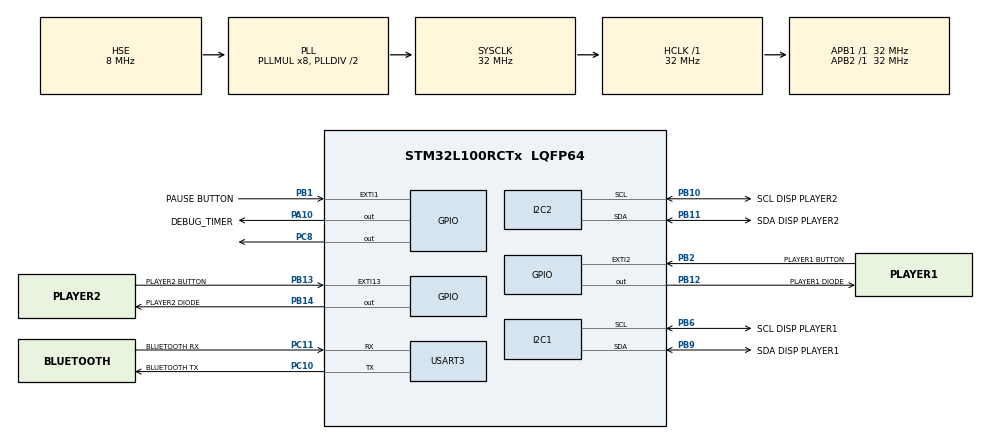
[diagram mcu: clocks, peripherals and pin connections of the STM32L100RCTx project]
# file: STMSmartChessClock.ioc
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Mcu.Family=STM32L1
Mcu.Name=STM32L100RCTx
Mcu.Package=LQFP64
NVIC.EXTI15_10_IRQn=true\:1\:0\:true\:true\:true\:4\:true
NVIC.EXTI1_IRQn=true\:1\:0\:true\:true\:true\:8\:true
NVIC.EXTI2_IRQn=true\:1\:0\:true\:true\:true\:7\:true
NVIC.PriorityGroup=NVIC_PRIORITYGROUP_4
NVIC.TIM10_IRQn=true\:0\:0\:false\:true\:true\:5\:true
NVIC.TIM2_IRQn=true\:1\:0\:true\:true\:true\:1\:true
NVIC.TIM3_IRQn=true\:1\:0\:true\:true\:true\:2\:true
NVIC.TIM6_IRQn=true\:0\:0\:false\:true\:true\:3\:true
NVIC.TIM9_IRQn=true\:1\:0\:true\:true\:true\:6\:true
PA10.GPIO_Label=DEBUG_TIMER
PA10.Signal=GPIO_Output
PB1.GPIO_Label=PAUSE BUTTON
PB1.GPIO_ModeDefaultEXTI=GPIO_MODE_IT_FALLING
PB1.GPIO_PuPd=GPIO_PULLUP
PB1.Signal=GPXTI1
PB10.GPIO_Label=SCL DISP PLAYER2
PB10.Mode=I2C
PB10.Signal=I2C2_SCL
PB11.GPIO_Label=SDA DISP PLAYER2
PB11.Mode=I2C
PB11.Signal=I2C2_SDA
PB12.GPIO_Label=PLAYER1 DIODE
PB12.GPIO_ModeDefaultOutputPP=GPIO_MODE_OUTPUT_PP
PB12.GPIO_PuPd=GPIO_NOPULL
PB12.GPIO_Speed=GPIO_SPEED_FREQ_LOW
PB12.PinState=GPIO_PIN_RESET
PB12.Signal=GPIO_Output
PB13.GPIO_Label=PLAYER2 BUTTON
PB13.GPIO_ModeDefaultEXTI=GPIO_MODE_IT_FALLING
PB13.GPIO_PuPd=GPIO_PULLUP
PB13.Signal=GPXTI13
PB14.GPIO_Label=PLAYER2 DIODE
PB14.GPIO_PuPd=GPIO_NOPULL
PB14.PinState=GPIO_PIN_RESET
PB14.Signal=GPIO_Output
PB2.GPIO_Label=PLAYER1 BUTTON
PB2.GPIO_ModeDefaultEXTI=GPIO_MODE_IT_FALLING
PB2.GPIO_PuPd=GPIO_PULLUP
PB2.Signal=GPXTI2
PB6.GPIO_Label=SCL DISP PLAYER1
PB6.Mode=I2C
PB6.Signal=I2C1_SCL
PB9.GPIO_Label=SDA DISP PLAYER1
PB9.Mode=I2C
PB9.Signal=I2C1_SDA
PC10.GPIO_Label=BLUETOOTH TX
PC10.Mode=Asynchronous
PC10.Signal=USART3_TX
PC11.GPIO_Label=BLUETOOTH RX
PC11.Mode=Asynchronous
PC11.Signal=USART3_RX
PC8.Signal=GPIO_Output
PH0-OSC_IN.Mode=HSE-External-Oscillator
PH0-OSC_IN.Signal=RCC_OSC_IN
PH1-OSC_OUT.Mode=HSE-External-Oscillator
PH1-OSC_OUT.Signal=RCC_OSC_OUT
ProjectManager.HeapSize=0x200
ProjectManager.StackSize=0x400
ProjectManager.TargetToolchain=SW4STM32
RCC.48MHZClocksFreq_Value=32000000
RCC.AHBFreq_Value=32000000
RCC.APB1Freq_Value=32000000
RCC.APB1TimFreq_Value=32000000
RCC.APB2Freq_Value=32000000
RCC.APB2TimFreq_Value=32000000
RCC.HCLKFreq_Value=32000000
RCC.HSE_VALUE=8000000
RCC.HSI_VALUE=16000000
RCC.LSE_VALUE=32768
RCC.MSI_VALUE=2097000
RCC.PLLMUL=RCC_PLL_MUL8
RCC.PLLSourceVirtual=RCC_PLLSOURCE_HSE
RCC.SYSCLKFreq_VALUE=32000000
RCC.SYSCLKSource=RCC_SYSCLKSOURCE_PLLCLK
RCC.VCOOutputFreq_Value=64000000
TIM10.Period=499
TIM10.Prescaler=159
TIM2.Period=999
TIM2.Prescaler=15
TIM3.Period=999
TIM3.Prescaler=159
TIM6.Period=9999
TIM6.Prescaler=799
TIM9.Period=999
TIM9.Prescaler=15
USART3.VirtualMode=VM_ASYNC
VP_TIM10_VS_ClockSourceINT.Mode=Internal
VP_TIM2_VS_ClockSourceINT.Mode=Internal
VP_TIM3_VS_ClockSourceINT.Mode=Internal
VP_TIM6_VS_ClockSourceINT.Mode=Enable_Timer
VP_TIM9_VS_ClockSourceINT.Mode=Internal
board=custom

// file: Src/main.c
/**
  ******************************************************************************
  * @file           : main.c
  * @brief          : Main program body
  ******************************************************************************
  ** This notice applies to any and all portions of this file
  * that are not between comment pairs USER CODE BEGIN and
  * USER CODE END. Other portions of this file, whether
  * inserted by the user or by software development tools
  * are owned by their respective copyright owners.
  *
  * COPYRIGHT(c) 2019 STMicroelectronics
  *
  * Redistribution and use in source and binary forms, with or without modification,
  * are permitted provided that the following conditions are met:
  *   1. Redistributions of source code must retain the above copyright notice,
  *      this list of conditions and the following disclaimer.
  *   2. Redistributions in binary form must reproduce the above copyright notice,
  *      this list of conditions and the following disclaimer in the documentation
  *      and/or other materials provided with the distribution.
  *   3. Neither the name of STMicroelectronics nor the names of its contributors
  *      may be used to endorse or promote products derived from this software
  *      without specific prior written permission.
  *
  * THIS SOFTWARE IS PROVIDED BY THE COPYRIGHT HOLDERS AND CONTRIBUTORS "AS IS"
  * AND ANY EXPRESS OR IMPLIED WARRANTIES, INCLUDING, BUT NOT LIMITED TO, THE
  * IMPLIED WARRANTIES OF MERCHANTABILITY AND FITNESS FOR A PARTICULAR PURPOSE ARE
  * DISCLAIMED. IN NO EVENT SHALL THE COPYRIGHT HOLDER OR CONTRIBUTORS BE LIABLE
  * FOR ANY DIRECT, INDIRECT, INCIDENTAL, SPECIAL, EXEMPLARY, OR CONSEQUENTIAL
  * DAMAGES (INCLUDING, BUT NOT LIMITED TO, PROCUREMENT OF SUBSTITUTE GOODS OR
  * SERVICES; LOSS OF USE, DATA, OR PROFITS; OR BUSINESS INTERRUPTION) HOWEVER
  * CAUSED AND ON ANY THEORY OF LIABILITY, WHETHER IN CONTRACT, STRICT LIABILITY,
  * OR TORT (INCLUDING NEGLIGENCE OR OTHERWISE) ARISING IN ANY WAY OUT OF THE USE
  * OF THIS SOFTWARE, EVEN IF ADVISED OF THE POSSIBILITY OF SUCH DAMAGE.
  *
  ******************************************************************************
  */
#include "main.h"
#include "stm32l1xx_hal.h"

/* USER CODE BEGIN Includes */
#include "stm32_tm1637.h"
#include "stm32_i2c2.h"
/* USER CODE END Includes */

I2C_HandleTypeDef hi2c1;
I2C_HandleTypeDef hi2c2;

TIM_HandleTypeDef htim2;
TIM_HandleTypeDef htim3;
TIM_HandleTypeDef htim6;
TIM_HandleTypeDef htim9;
TIM_HandleTypeDef htim10;

UART_HandleTypeDef huart3;

/* USER CODE BEGIN PV */
/* Private variables ---------------------------------------------------------*/

//PREPROCESOR
#define UI_PLAYER1_DIODE_ON		HAL_GPIO_WritePin(GPIOB, GPIO_PIN_12, GPIO_PIN_SET)		//Zapalenie diody przycisku 1
#define UI_PLAYER1_DIODE_OFF	HAL_GPIO_WritePin(GPIOB, GPIO_PIN_12, GPIO_PIN_RESET)	//Zgaszenie diody przycisku 1
#define UI_PLAYER1_BUTTON		GPIO_PIN_2												//Uchwyt przycisku gracza 1

#define UI_PLAYER2_DIODE_ON		HAL_GPIO_WritePin(GPIOB, GPIO_PIN_14, GPIO_PIN_SET)		//Zapalenie diody przycisku 2
#define UI_PLAYER2_DIODE_OFF	HAL_GPIO_WritePin(GPIOB, GPIO_PIN_14, GPIO_PIN_RESET)	//Zgaszenie diody przycisku 2
#define UI_PLAYER2_BUTTON		GPIO_PIN_13												//Uchwyt przycisku gracza 2

#define DEBUG_DIODE1_ON			HAL_GPIO_WritePin(GPIOC, GPIO_PIN_8, GPIO_PIN_SET)		//Zapalenie niebieskiej diody na plytce
#define DEBUG_DIODE1_OFF		HAL_GPIO_WritePin(GPIOC, GPIO_PIN_8, GPIO_PIN_RESET)	//Zapalenie niebieskiej diody na plytce
#define UI_PAUSE_BUTTON			GPIO_PIN_1												//Uchwyt przycisku start/stop

//Definicje presetów czasowych (poniżej inicjalizacja w funkcji PresetInit)
#define NUMBER_OF_PRESETS		12

#define BULLET_1_0				0
#define BULLET_2_1				1
#define BLITZ_3_0				2
#define BLITZ_3_2				3
#define BLITZ_5_0				4
#define	BLITZ_5_3				5
#define	RAPID_10_0				6
#define	RAPID_15_0				7
#define	RAPID_15_15				8
#define	RAPID_25_0				9
#define	RAPID_25_10				10
#define CLASSICAL_30_0			11

#define BLUETOOTH_PRESET		12

//STRUKTURA CZASU
struct _time
{
	volatile uint8_t minutes;
	volatile uint8_t seconds;
	volatile uint16_t miliseconds;
};

//PRESETY CZASOWE
struct _preset
{
	struct _time time;
	volatile uint8_t increment;
};

struct _preset presets[NUMBER_OF_PRESETS];	//Struktura zawierająca presety czasowe

//STRUKTURA KOMUNIKATU BLUETOOTH
struct _bluetooth
{
	volatile uint8_t operation;					//S -> start/stop	T -> zmiana gracza	P -> preset czasowy
	volatile uint8_t player1time[4];			//Znacznik czasowy gracza 1 w milisekundach
	volatile uint8_t player2time[4];			//Znacznik czasowy gracza 2 w milisekundach
};

//ZMIENNE GLOBALNE
volatile uint8_t _currentPlayer;		//Zmienna oznaczajaca któremu z graczy uplywa czas
volatile uint8_t _increment;			//Zmienna oznaczajaca dodawany czas po wcisnieciu przycisku w sekundach
volatile uint8_t _pause = 1;			//Zmienna wyznaczajaca pauze w pomiarze czasu
volatile uint8_t _gameOver = 0;			//Zmienna wyznaczająca koniec gry w przypadku gdy jednemu z graczy upłynie czas
volatile uint8_t _refresh = 0;			//Zmienna wykorzystywana do odświeżania wyświetlaczy zegara
volatile int8_t _presetSelect = 0;		//Zmienna wykorzystywana przy wyborze presetu zegara
volatile uint8_t _display;				//Zmienna wykorzysytwana przy miganiu wyświetlaczami przy pauzie

struct _time PLAYER1_TIME;	//Struktura przechowująca informacje o czasie gracza nr 1
struct _time PLAYER2_TIME;	//Struktura przechowująca informacje o czasie gracza nr 2

/* USER CODE END PV */

void SystemClock_Config(void);
static void MX_GPIO_Init(void);
static void MX_TIM2_Init(void);
static void MX_I2C2_Init(void);
static void MX_I2C1_Init(void);
static void MX_TIM3_Init(void);
static void MX_TIM9_Init(void);
static void MX_TIM10_Init(void);
static void MX_USART3_UART_Init(void);
static void MX_TIM6_Init(void);
static void MX_NVIC_Init(void);

/* USER CODE BEGIN PFP */
/* Private function prototypes -----------------------------------------------*/

/* FUNKCJE DO OBS�?UGI MODU�?U BLUETOOTH -------------------------------------------------------------*/

struct _bluetooth buildBluetoothMessage(char operation)
{
	struct _bluetooth out;
	uint32_t p1t, p2t;

	p1t = PLAYER1_TIME.miliseconds + PLAYER1_TIME.seconds * 1000 + PLAYER1_TIME.minutes * 60000;
	p2t = PLAYER2_TIME.miliseconds + PLAYER2_TIME.seconds * 1000 + PLAYER2_TIME.minutes * 60000;

	out.operation = operation;
	out.player1time[0] = (p1t >> 24) & 0xFF;
	out.player1time[1] = (p1t >> 16) & 0xFF;
	out.player1time[2] = (p1t >> 8) & 0xFF;
	out.player1time[3] = p1t & 0xFF;

	out.player2time[0] = (p2t >> 24) & 0xFF;
	out.player2time[1] = (p2t >> 16) & 0xFF;
	out.player2time[2] = (p2t >> 8) & 0xFF;
	out.player2time[3] = p2t & 0xFF;

	return out;
}

void sendBluetoothMessage(char operation)
{
	struct _bluetooth message = buildBluetoothMessage(operation);
	uint16_t messageSize = 9;
	uint8_t messageBytes[9];

	messageBytes[0] = message.operation;
	messageBytes[1] = message.player1time[0];
	messageBytes[2] = message.player1time[1];
	messageBytes[3] = message.player1time[2];
	messageBytes[4] = message.player1time[3];

	messageBytes[5] = message.player2time[0];
	messageBytes[6] = message.player2time[1];
	messageBytes[7] = message.player2time[2];
	messageBytes[8] = message.player2time[3];

	HAL_UART_Transmit_IT(&huart3, messageBytes, messageSize);
}

struct _bluetooth receiveBluetoothMessage()
{
	struct _bluetooth out;
	uint16_t messageSize = 9;
	uint8_t messageBytes[9];

	HAL_UART_Receive_IT(&huart3, messageBytes, messageSize);

	out.operation = messageBytes[0];

	out.player1time[0] = messageBytes[1];
	out.player1time[1] = messageBytes[2];
	out.player1time[2] = messageBytes[3];
	out.player1time[3] = messageBytes[4];

	out.player2time[0] = messageBytes[5];
	out.player2time[1] = messageBytes[6];
	out.player2time[2] = messageBytes[7];
	out.player2time[3] = messageBytes[8];

	return out;
}

void addPresetFromBluetooth()
{
	struct _bluetooth message = receiveBluetoothMessage();

	uint32_t baseTime, increment;
	uint8_t baseTimeArr[4], incrementArr[4];

	//Konwersja komunikatu na integery
	baseTimeArr[0] = message.player1time[0];
	baseTimeArr[1] = message.player1time[1];
	baseTimeArr[2] = message.player1time[2];
	baseTimeArr[3] = message.player1time[3];

	incrementArr[0] = message.player2time[0];
	incrementArr[1] = message.player2time[1];
	incrementArr[2] = message.player2time[2];
	incrementArr[3] = message.player2time[3];

	baseTime = *(int *)baseTimeArr;
	increment = *(int *)incrementArr;

	//Uzupełnienie struktury presetu
	unsigned int divider;

	//Określenie liczby minut
	divider = baseTime / 60000;
	baseTime -= divider * 60000;
	presets[BLUETOOTH_PRESET].time.minutes = divider * 60000;

	//Określenie liczby sekund
	divider = baseTime / 1000;
	baseTime -= divider * 1000;
	presets[BLUETOOTH_PRESET].time.minutes = divider * 1000;

	//Określenie liczby milisekund
	presets[BLUETOOTH_PRESET].time.miliseconds = baseTime;

	//Przypisanie liczby sekund do inkrementu
	presets[BLUETOOTH_PRESET].increment = increment / 1000;
}

/* FUNKCJE MIERZĄCE/OBS�?UGUJĄCE CZAS---------------------------------------------------------------*/
void PresetInit()
{
	//BULLET 1+0
	presets[BULLET_1_0].time.miliseconds = 0;
	presets[BULLET_1_0].time.seconds = 0;
	presets[BULLET_1_0].time.minutes = 1;
	presets[BULLET_1_0].increment = 0;

	//BULLET 2+1
	presets[BULLET_2_1].time.miliseconds = 0;
	presets[BULLET_2_1].time.seconds = 0;
	presets[BULLET_2_1].time.minutes = 2;
	presets[BULLET_2_1].increment = 1;

	//BLITZ 3+0
	presets[BLITZ_3_0].time.miliseconds = 0;
	presets[BLITZ_3_0].time.seconds = 0;
	presets[BLITZ_3_0].time.minutes = 3;
	presets[BLITZ_3_0].increment = 0;

	//BLITZ 3+2
	presets[BLITZ_3_2].time.miliseconds = 0;
	presets[BLITZ_3_2].time.seconds = 0;
	presets[BLITZ_3_2].time.minutes = 3;
	presets[BLITZ_3_2].increment = 2;

	//BLITZ 5+0
	presets[BLITZ_5_0].time.miliseconds = 0;
	presets[BLITZ_5_0].time.seconds = 0;
	presets[BLITZ_5_0].time.minutes = 5;
	presets[BLITZ_5_0].increment = 0;

	//BLITZ 5+3
	presets[BLITZ_5_3].time.miliseconds = 0;
	presets[BLITZ_5_3].time.seconds = 0;
	presets[BLITZ_5_3].time.minutes = 5;
	presets[BLITZ_5_3].increment = 3;

	//RAPID 10+0
	presets[RAPID_10_0].time.miliseconds = 0;
	presets[RAPID_10_0].time.seconds = 0;
	presets[RAPID_10_0].time.minutes = 10;
	presets[RAPID_10_0].increment = 0;

	//RAPID 15+0
	presets[RAPID_15_0].time.miliseconds = 0;
	presets[RAPID_15_0].time.seconds = 0;
	presets[RAPID_15_0].time.minutes = 15;
	presets[RAPID_15_0].increment = 0;

	//RAPID 15+15
	presets[RAPID_15_15].time.miliseconds = 0;
	presets[RAPID_15_15].time.seconds = 0;
	presets[RAPID_15_15].time.minutes = 15;
	presets[RAPID_15_15].increment = 15;

	//RAPID 25+0
	presets[RAPID_25_0].time.miliseconds = 0;
	presets[RAPID_25_0].time.seconds = 0;
	presets[RAPID_25_0].time.minutes = 25;
	presets[RAPID_25_0].increment = 0;

	//RAPID 25+10
	presets[RAPID_25_10].time.miliseconds = 0;
	presets[RAPID_25_10].time.seconds = 0;
	presets[RAPID_25_10].time.minutes = 25;
	presets[RAPID_25_10].increment = 10;

	//CLASSICAL 30+0
	presets[CLASSICAL_30_0].time.miliseconds = 0;
	presets[CLASSICAL_30_0].time.seconds = 0;
	presets[CLASSICAL_30_0].time.minutes = 30;
	presets[CLASSICAL_30_0].increment = 0;

	//BLUETOOTH
	presets[BLUETOOTH_PRESET].time.miliseconds = 0;
	presets[BLUETOOTH_PRESET].time.seconds = 0;
	presets[BLUETOOTH_PRESET].time.minutes = 99;
	presets[BLUETOOTH_PRESET].increment = 99;

}

void setClocks(int presetIndex)						//Funkcja ustawia czas obu zegarów z numeru presetu
{
	PLAYER1_TIME.minutes = 		presets[presetIndex].time.minutes;
	PLAYER1_TIME.seconds = 		presets[presetIndex].time.seconds;
	PLAYER1_TIME.miliseconds = 	presets[presetIndex].time.miliseconds;

	PLAYER2_TIME.minutes = 		presets[presetIndex].time.minutes;
	PLAYER2_TIME.seconds = 		presets[presetIndex].time.seconds;
	PLAYER2_TIME.miliseconds = 	presets[presetIndex].time.miliseconds;

	_increment = presets[presetIndex].increment;
}

int decrement(struct _time* clock)					//Funkcja pomniejsza wartośc struktury czasu o 1ms - jeżeli czas upłynął całkowicie - funkcja zwraca wartośc 1
{
	if(clock->miliseconds <= 0)
	{
		if(clock->seconds == 0)
		{
			if(clock->minutes == 0)
			{
				return 1;		//Koniec czasu - zwracamy 1
			}
			else	{clock->minutes--; clock->seconds = 59; clock->miliseconds = 999;}
					//Jeżeli liczba minut jest większa od zera odejmujemy jedną minutę z licznika i przestawiamy sekundy oraz milisekundy
		}
		else {clock->seconds--; clock->miliseconds = 999;}
			//Jeżeli liczba sekund jest większa od zera odejmujemy jedną sekundę z zegara i przestawiamy milisekundy
	}
	else
		clock->miliseconds--;
		//Jeżeli liczba milisekund jest większa od 0 odejmujemy jedną milisekundę z zegara

	return 0;
}

void increment(struct _time* clock, int secondInc)	//Funkcja inkrementująca dany zegar o podaną liczbę sekund
{
	if(secondInc == 0)	//Jeżeli inkrementacja jest "zerowa"
		return;

	clock->seconds += secondInc;

	if(clock->seconds >= 60)	//Jeżeli przekroczymy zakres 1 minuty dodając sekundy
	{
		clock->minutes++;
		clock->seconds -= 60;
	}
}

void clockTick()									//FUNCKJA ZMNIEJSZAJĄCA CZAS ZEGARA WYWO�?YWANA W PRZERWANIU TIMERA i całą logikę z tym związaną
{
	if(_currentPlayer == 1)
	{
		if(decrement(&PLAYER1_TIME) == 0)	//Jeżeli graczowi jeszcze nie skończył się czas
		{

		}
		else	//Graczowi 1 skończył się czas
		{
				_pause = 1;
				_gameOver = 1;
				HAL_TIM_Base_Stop_IT(&htim2);
				HAL_TIM_Base_Stop_IT(&htim9);
		}
	}

	else if(_currentPlayer == 2)
	{
		if(decrement(&PLAYER2_TIME) == 0)	//Jeżeli graczowi jeszcze nie skończył się czas
		{

		}
		else	//Graczowi 2 skończył się czas
		{
				_pause = 1;
				_gameOver = 1;
				HAL_TIM_Base_Stop_IT(&htim2);
				HAL_TIM_Base_Stop_IT(&htim9);
		}
	}
}

void clockIncrement()								//FUNCKJA INKREMENTUJĄCA CZAS ZEGARA WYWO�?YWANA W PRZERWANIU PRZYCISKÓW i całą logikę z tym związaną
{
	if(_pause == 0)	//Jeżeli gra jest spauzowania nie wykonujemy inkrementacji
	{

	if(_currentPlayer == 1)
		{
			increment(&PLAYER1_TIME, _increment);
		}

	else if(_currentPlayer == 2)
		{
			increment(&PLAYER2_TIME, _increment);
		}

	}
}

void incrementPreset()		//Funkcja inkrementująca kursor presetu
{
	if(_presetSelect < NUMBER_OF_PRESETS)
		_presetSelect++;
}

void decrementPreset()		//Funkcja dekrementująca kursor presetu
{
	if(_presetSelect > 0)
		_presetSelect--;
}

/*-------------------------------------------------------------------------------------------------
FUNKCJE UI I PRZERWANIA--------------------------------------------------------------------------*/
void onDisplays()
{
	tm1637SetBrightness('8');
	tm1637SetBrightness2('8');
	_display = 1;
}

void offDisplays()
{
	tm1637SetBrightness('0');
	tm1637SetBrightness2('0');
	_display = 0;
}

int timeToDisplay(struct _time* clock)	//Fukcja zwraca integera do wyświetlenia na ekranie
{
	return clock->minutes * 100 + clock->seconds;
}

void switchPlayers()				//Funkcja zmienajaca któremu graczowi ma uplywac czas
{
	if(_gameOver == 0)				//Jeżeli gra nie dobiegła jeszcze końca
	{
		if(_currentPlayer == 1)
		{
			UI_PLAYER1_DIODE_OFF;
			UI_PLAYER2_DIODE_ON;
			clockIncrement();		//Inkrementacja czasu jest w osobnej funkcji żeby umożliwic zmianę graczy na pauzie bez dodawania czasu
			_currentPlayer = 2;

		   	//Wysłanie komunikatu bluetooth o zmianie gracza do aplikacji
		   	sendBluetoothMessage('T');

			return;
		}

		if(_currentPlayer == 2)
		{
			UI_PLAYER1_DIODE_ON;
			UI_PLAYER2_DIODE_OFF;
			clockIncrement();
			_currentPlayer = 1;

			//Wysłanie komunikatu bluetooth o zmianie gracza do aplikacji
			sendBluetoothMessage('T');

			return;
		}
	}
}

void switchTimer()				//Funkcja przełączająca timer podczas pauzowania/wznawiania gry
{
	if(_gameOver == 0)
	{
	   	HAL_GPIO_TogglePin(GPIOC, GPIO_PIN_8);

	   	if(_pause == 1)								//Wnowienie gry po zatrzymaniu
	   	{
	   		_pause = 0;

	   		if(_currentPlayer == 1)
	   		{
	   			HAL_TIM_Base_Start_IT(&htim2);		//Wznowienie timera odmierzającego czas graczowi 1
	   		}
	   		else if(_currentPlayer == 2)
	   		{
	   			HAL_TIM_Base_Start_IT(&htim9);
	   		}

	   	}

	   	else if(_pause == 0)						//Spauzowanie gry
	   	{
	   		_pause = 1;
	   		HAL_TIM_Base_Stop_IT(&htim2);			//Zatrzymanie timera odmierzającego czas
	   		HAL_TIM_Base_Stop_IT(&htim9);
	  	}

	   	//Wysłanie komunikatu bluetooth o starcie/stopie do aplikacji
	   	sendBluetoothMessage('S');

	 }
}

void HAL_GPIO_EXTI_Callback(uint16_t GPIO_Pin) 		//Przerwania GPIO
{
   	if(GPIO_Pin == UI_PAUSE_BUTTON)					//Wcisniecie przycisku START/STOP
   	{
   			HAL_TIM_Base_Start_IT(&htim10);
   	}

   	if(GPIO_Pin == UI_PLAYER1_BUTTON)			//Wcisniecie przycisku PLAYER1
   	{
   			HAL_TIM_Base_Start_IT(&htim10);
   	}

   	if(GPIO_Pin == UI_PLAYER2_BUTTON)			//Wcisniecie przycisku PLAYER2
   	{
   			HAL_TIM_Base_Start_IT(&htim10);
   	}
}

void HAL_TIM_PeriodElapsedCallback(TIM_HandleTypeDef *htim)	//Przerwania Timerów
{
   	if(htim->Instance == TIM2)	//Przepełnienie timera nr 2 -> upłynięcie milisekundy gracza 1
   	{
         clockTick();
         //HAL_GPIO_TogglePin(GPIOA, GPIO_PIN_10);	Można na oscyloskopie sprawdzic, czy timer odmierza dokładnie 1 ms
    }

   	if(htim->Instance == TIM9)	//Przepełnienie timera nr 9 -> upłynięcie milisekundy gracza 2
   	{
   	     clockTick();
   	}

   	if(htim->Instance == TIM3)	//Przepełnienie timera nr 3 -> odświeżenie wyświetlaczy
   	{
   		_refresh = 1;
   	}

   	if(htim->Instance == TIM10)	//Przepełnienie timera nr 10 -> debouncing przycisków
   	{
   		//FUNKCJA RESET - WSZYSTKIE TRZY PRZYCISKI WCIŚNIĘTE
   		if(HAL_GPIO_ReadPin(GPIOB, UI_PAUSE_BUTTON) == GPIO_PIN_RESET && HAL_GPIO_ReadPin(GPIOB, UI_PLAYER1_BUTTON) == GPIO_PIN_RESET && HAL_GPIO_ReadPin(GPIOB, UI_PLAYER2_BUTTON) == GPIO_PIN_RESET)
   		{
   			//Na razie programowo
   			int i;
   			for(i = 0; i < 1000000; ++i);
   			NVIC_SystemReset();
   		}

   		if(HAL_GPIO_ReadPin(GPIOB, UI_PAUSE_BUTTON) == GPIO_PIN_RESET)			//Przycisk pauzy
   		{
   			if(_presetSelect != -1)		//Wciśnięcie przysicku pauzy rozpoczyna rozgrywkę
   			{
   				if(_presetSelect == BLUETOOTH_PRESET)	//Jeżeli gracz wybrał preset ósmy, czyli czeka na preset z aplikacji...
   				{
   					addPresetFromBluetooth();
   				}

   				setClocks(_presetSelect);
   				_presetSelect = -1;
   				_pause = 1;
   			}

   			else
   				switchTimer();
   		}

   		if(HAL_GPIO_ReadPin(GPIOB, UI_PLAYER1_BUTTON) == GPIO_PIN_RESET)		//Gracz 1
   		{
   			if(_presetSelect != -1)
   				decrementPreset();

   			else if(_currentPlayer == 1)
   			   	switchPlayers();
   		}

   		if(HAL_GPIO_ReadPin(GPIOB, UI_PLAYER2_BUTTON) == GPIO_PIN_RESET)		//Gracz 2
   		{
   			if(_presetSelect != -1)
   			   	incrementPreset();

   			else if(_currentPlayer == 2)
   				switchPlayers();
   		}

   	   	HAL_TIM_Base_Stop_IT(&htim10);
   	   	TIM10->CNT = 0;
   	}
}
/* USER CODE END PFP */

int main(void)
{

  /* MCU Configuration----------------------------------------------------------*/

  /* Reset of all peripherals, Initializes the Flash interface and the Systick. */
  HAL_Init();

  /* Configure the system clock */
  SystemClock_Config();

  /* Initialize all configured peripherals */
  MX_GPIO_Init();
  MX_TIM2_Init();
  MX_I2C2_Init();
  MX_I2C1_Init();
  MX_TIM3_Init();
  MX_TIM9_Init();
  MX_TIM10_Init();
  MX_USART3_UART_Init();
  MX_TIM6_Init();

  /* Initialize interrupts */
  MX_NVIC_Init();
  /* USER CODE BEGIN 2 */

  //INICJALIACJA WYŚWIETLACZY I EXTI
  tm1637Init();
  tm1637Init2();
  onDisplays();										//Włączenie obu wyświetlaczy
  HAL_GPIO_EXTI_IRQHandler(UI_PLAYER1_BUTTON);		//Odświeżenie EXTI
  HAL_GPIO_EXTI_IRQHandler(UI_PLAYER2_BUTTON);
  HAL_GPIO_EXTI_IRQHandler(UI_PAUSE_BUTTON);

  //INICJALIZACJA ZEGARA---------------------------------------------------------------------------
  PresetInit();						//Wypełnienie pamięci presetami
  HAL_TIM_Base_Start_IT(&htim3);	//Uruchomienie timera odświeżającego wyświetlacze

  //WYBÓR PRESETU CZASOWEGO------------------------------------------------------------------------
  while(1)		//Wciśnięcie przycisku pauzy rozpocznie rozgrywkę z wybranym presetem
  {
	  if(_refresh == 1)
	  {
		  tm1637DisplayDecimal(_presetSelect + 1, 0);
		  tm1637DisplayDecimal2(presets[_presetSelect].time.minutes * 100 + presets[_presetSelect].increment, 1);
	  	  _refresh = 0;
	  }

	  if(_presetSelect == -1)
		  break;
  }

  _currentPlayer = 1;				//Domyślnie gracz 1 "ma ruch"
  UI_PLAYER1_DIODE_ON;				//Włączenie diody gracza 1

  /* USER CODE END 2 */

  /* Infinite loop */
  /* USER CODE BEGIN WHILE */

  //ROZGRYWKA--------------------------------------------------------------------------------------
  while (1)
  {

  /* USER CODE END WHILE */

  /* USER CODE BEGIN 3 */
	  if(_refresh == 1)
	  {
		  tm1637DisplayDecimal(timeToDisplay(&PLAYER1_TIME), !((PLAYER1_TIME.miliseconds / 500) && (_currentPlayer == 1)));
		  tm1637DisplayDecimal2(timeToDisplay(&PLAYER2_TIME), !((PLAYER2_TIME.miliseconds / 500) && (_currentPlayer == 2)));
		  _refresh = 0;
	  }
  }
  /* USER CODE END 3 */

}

void SystemClock_Config(void)
{

  RCC_OscInitTypeDef RCC_OscInitStruct;
  RCC_ClkInitTypeDef RCC_ClkInitStruct;

    /**Configure the main internal regulator output voltage
    */
  __HAL_PWR_VOLTAGESCALING_CONFIG(PWR_REGULATOR_VOLTAGE_SCALE1);

    /**Initializes the CPU, AHB and APB busses clocks
    */
  RCC_OscInitStruct.OscillatorType = RCC_OSCILLATORTYPE_HSE;
  RCC_OscInitStruct.HSEState = RCC_HSE_ON;
  RCC_OscInitStruct.PLL.PLLState = RCC_PLL_ON;
  RCC_OscInitStruct.PLL.PLLSource = RCC_PLLSOURCE_HSE;
  RCC_OscInitStruct.PLL.PLLMUL = RCC_PLL_MUL8;
  RCC_OscInitStruct.PLL.PLLDIV = RCC_PLL_DIV2;
  if (HAL_RCC_OscConfig(&RCC_OscInitStruct) != HAL_OK)
  {
    _Error_Handler(__FILE__, __LINE__);
  }

    /**Initializes the CPU, AHB and APB busses clocks
    */
  RCC_ClkInitStruct.ClockType = RCC_CLOCKTYPE_HCLK|RCC_CLOCKTYPE_SYSCLK
                              |RCC_CLOCKTYPE_PCLK1|RCC_CLOCKTYPE_PCLK2;
  RCC_ClkInitStruct.SYSCLKSource = RCC_SYSCLKSOURCE_PLLCLK;
  RCC_ClkInitStruct.AHBCLKDivider = RCC_SYSCLK_DIV1;
  RCC_ClkInitStruct.APB1CLKDivider = RCC_HCLK_DIV1;
  RCC_ClkInitStruct.APB2CLKDivider = RCC_HCLK_DIV1;

  if (HAL_RCC_ClockConfig(&RCC_ClkInitStruct, FLASH_LATENCY_1) != HAL_OK)
  {
    _Error_Handler(__FILE__, __LINE__);
  }

    /**Configure the Systick interrupt time
    */
  HAL_SYSTICK_Config(HAL_RCC_GetHCLKFreq()/1000);

    /**Configure the Systick
    */
  HAL_SYSTICK_CLKSourceConfig(SYSTICK_CLKSOURCE_HCLK);

  /* SysTick_IRQn interrupt configuration */
  HAL_NVIC_SetPriority(SysTick_IRQn, 0, 0);
}

/**
  * @brief NVIC Configuration.
  * @retval None
  */
static void MX_NVIC_Init(void)
{
  /* TIM2_IRQn interrupt configuration */
  HAL_NVIC_SetPriority(TIM2_IRQn, 1, 0);
  HAL_NVIC_EnableIRQ(TIM2_IRQn);
  /* TIM3_IRQn interrupt configuration */
  HAL_NVIC_SetPriority(TIM3_IRQn, 1, 0);
  HAL_NVIC_EnableIRQ(TIM3_IRQn);
  /* TIM6_IRQn interrupt configuration */
  HAL_NVIC_SetPriority(TIM6_IRQn, 0, 0);
  HAL_NVIC_EnableIRQ(TIM6_IRQn);
  /* EXTI15_10_IRQn interrupt configuration */
  HAL_NVIC_SetPriority(EXTI15_10_IRQn, 1, 0);
  HAL_NVIC_EnableIRQ(EXTI15_10_IRQn);
  /* TIM10_IRQn interrupt configuration */
  HAL_NVIC_SetPriority(TIM10_IRQn, 0, 0);
  HAL_NVIC_EnableIRQ(TIM10_IRQn);
  /* TIM9_IRQn interrupt configuration */
  HAL_NVIC_SetPriority(TIM9_IRQn, 1, 0);
  HAL_NVIC_EnableIRQ(TIM9_IRQn);
  /* EXTI2_IRQn interrupt configuration */
  HAL_NVIC_SetPriority(EXTI2_IRQn, 1, 0);
  HAL_NVIC_EnableIRQ(EXTI2_IRQn);
  /* EXTI1_IRQn interrupt configuration */
  HAL_NVIC_SetPriority(EXTI1_IRQn, 1, 0);
  HAL_NVIC_EnableIRQ(EXTI1_IRQn);
}

/* I2C1 init function */
static void MX_I2C1_Init(void)
{

  hi2c1.Instance = I2C1;
  hi2c1.Init.ClockSpeed = 100000;
  hi2c1.Init.DutyCycle = I2C_DUTYCYCLE_2;
  hi2c1.Init.OwnAddress1 = 0;
  hi2c1.Init.AddressingMode = I2C_ADDRESSINGMODE_7BIT;
  hi2c1.Init.DualAddressMode = I2C_DUALADDRESS_DISABLE;
  hi2c1.Init.OwnAddress2 = 0;
  hi2c1.Init.GeneralCallMode = I2C_GENERALCALL_DISABLE;
  hi2c1.Init.NoStretchMode = I2C_NOSTRETCH_DISABLE;
  if (HAL_I2C_Init(&hi2c1) != HAL_OK)
  {
    _Error_Handler(__FILE__, __LINE__);
  }

}

/* I2C2 init function */
static void MX_I2C2_Init(void)
{

  hi2c2.Instance = I2C2;
  hi2c2.Init.ClockSpeed = 100000;
  hi2c2.Init.DutyCycle = I2C_DUTYCYCLE_2;
  hi2c2.Init.OwnAddress1 = 0;
  hi2c2.Init.AddressingMode = I2C_ADDRESSINGMODE_7BIT;
  hi2c2.Init.DualAddressMode = I2C_DUALADDRESS_DISABLE;
  hi2c2.Init.OwnAddress2 = 0;
  hi2c2.Init.GeneralCallMode = I2C_GENERALCALL_DISABLE;
  hi2c2.Init.NoStretchMode = I2C_NOSTRETCH_DISABLE;
  if (HAL_I2C_Init(&hi2c2) != HAL_OK)
  {
    _Error_Handler(__FILE__, __LINE__);
  }

}

/* TIM2 init function */
static void MX_TIM2_Init(void)
{

  TIM_ClockConfigTypeDef sClockSourceConfig;
  TIM_MasterConfigTypeDef sMasterConfig;

  htim2.Instance = TIM2;
  htim2.Init.Prescaler = 15;
  htim2.Init.CounterMode = TIM_COUNTERMODE_UP;
  htim2.Init.Period = 999;
  htim2.Init.ClockDivision = TIM_CLOCKDIVISION_DIV1;
  if (HAL_TIM_Base_Init(&htim2) != HAL_OK)
  {
    _Error_Handler(__FILE__, __LINE__);
  }

  sClockSourceConfig.ClockSource = TIM_CLOCKSOURCE_INTERNAL;
  if (HAL_TIM_ConfigClockSource(&htim2, &sClockSourceConfig) != HAL_OK)
  {
    _Error_Handler(__FILE__, __LINE__);
  }

  sMasterConfig.MasterOutputTrigger = TIM_TRGO_RESET;
  sMasterConfig.MasterSlaveMode = TIM_MASTERSLAVEMODE_DISABLE;
  if (HAL_TIMEx_MasterConfigSynchronization(&htim2, &sMasterConfig) != HAL_OK)
  {
    _Error_Handler(__FILE__, __LINE__);
  }

}

/* TIM3 init function */
static void MX_TIM3_Init(void)
{

  TIM_ClockConfigTypeDef sClockSourceConfig;
  TIM_MasterConfigTypeDef sMasterConfig;

  htim3.Instance = TIM3;
  htim3.Init.Prescaler = 159;
  htim3.Init.CounterMode = TIM_COUNTERMODE_UP;
  htim3.Init.Period = 999;
  htim3.Init.ClockDivision = TIM_CLOCKDIVISION_DIV1;
  if (HAL_TIM_Base_Init(&htim3) != HAL_OK)
  {
    _Error_Handler(__FILE__, __LINE__);
  }

  sClockSourceConfig.ClockSource = TIM_CLOCKSOURCE_INTERNAL;
  if (HAL_TIM_ConfigClockSource(&htim3, &sClockSourceConfig) != HAL_OK)
  {
    _Error_Handler(__FILE__, __LINE__);
  }

  sMasterConfig.MasterOutputTrigger = TIM_TRGO_RESET;
  sMasterConfig.MasterSlaveMode = TIM_MASTERSLAVEMODE_DISABLE;
  if (HAL_TIMEx_MasterConfigSynchronization(&htim3, &sMasterConfig) != HAL_OK)
  {
    _Error_Handler(__FILE__, __LINE__);
  }

}

/* TIM6 init function */
static void MX_TIM6_Init(void)
{

  TIM_MasterConfigTypeDef sMasterConfig;

  htim6.Instance = TIM6;
  htim6.Init.Prescaler = 799;
  htim6.Init.CounterMode = TIM_COUNTERMODE_UP;
  htim6.Init.Period = 9999;
  if (HAL_TIM_Base_Init(&htim6) != HAL_OK)
  {
    _Error_Handler(__FILE__, __LINE__);
  }

  sMasterConfig.MasterOutputTrigger = TIM_TRGO_RESET;
  sMasterConfig.MasterSlaveMode = TIM_MASTERSLAVEMODE_DISABLE;
  if (HAL_TIMEx_MasterConfigSynchronization(&htim6, &sMasterConfig) != HAL_OK)
  {
    _Error_Handler(__FILE__, __LINE__);
  }

}

/* TIM9 init function */
static void MX_TIM9_Init(void)
{

  TIM_ClockConfigTypeDef sClockSourceConfig;
  TIM_MasterConfigTypeDef sMasterConfig;

  htim9.Instance = TIM9;
  htim9.Init.Prescaler = 15;
  htim9.Init.CounterMode = TIM_COUNTERMODE_UP;
  htim9.Init.Period = 999;
  htim9.Init.ClockDivision = TIM_CLOCKDIVISION_DIV1;
  if (HAL_TIM_Base_Init(&htim9) != HAL_OK)
  {
    _Error_Handler(__FILE__, __LINE__);
  }

  sClockSourceConfig.ClockSource = TIM_CLOCKSOURCE_INTERNAL;
  if (HAL_TIM_ConfigClockSource(&htim9, &sClockSourceConfig) != HAL_OK)
  {
    _Error_Handler(__FILE__, __LINE__);
  }

  sMasterConfig.MasterOutputTrigger = TIM_TRGO_RESET;
  sMasterConfig.MasterSlaveMode = TIM_MASTERSLAVEMODE_DISABLE;
  if (HAL_TIMEx_MasterConfigSynchronization(&htim9, &sMasterConfig) != HAL_OK)
  {
    _Error_Handler(__FILE__, __LINE__);
  }

}

/* TIM10 init function */
static void MX_TIM10_Init(void)
{

  TIM_ClockConfigTypeDef sClockSourceConfig;

  htim10.Instance = TIM10;
  htim10.Init.Prescaler = 159;
  htim10.Init.CounterMode = TIM_COUNTERMODE_UP;
  htim10.Init.Period = 499;
  htim10.Init.ClockDivision = TIM_CLOCKDIVISION_DIV1;
  if (HAL_TIM_Base_Init(&htim10) != HAL_OK)
  {
    _Error_Handler(__FILE__, __LINE__);
  }

  sClockSourceConfig.ClockSource = TIM_CLOCKSOURCE_INTERNAL;
  if (HAL_TIM_ConfigClockSource(&htim10, &sClockSourceConfig) != HAL_OK)
  {
    _Error_Handler(__FILE__, __LINE__);
  }

}

/* USART3 init function */
static void MX_USART3_UART_Init(void)
{

  huart3.Instance = USART3;
  huart3.Init.BaudRate = 115200;
  huart3.Init.WordLength = UART_WORDLENGTH_8B;
  huart3.Init.StopBits = UART_STOPBITS_1;
  huart3.Init.Parity = UART_PARITY_NONE;
  huart3.Init.Mode = UART_MODE_TX_RX;
  huart3.Init.HwFlowCtl = UART_HWCONTROL_NONE;
  huart3.Init.OverSampling = UART_OVERSAMPLING_16;
  if (HAL_UART_Init(&huart3) != HAL_OK)
  {
    _Error_Handler(__FILE__, __LINE__);
  }

}

/** Configure pins as
        * Analog
        * Input
        * Output
        * EVENT_OUT
        * EXTI
*/
static void MX_GPIO_Init(void)
{

  GPIO_InitTypeDef GPIO_InitStruct;

  /* GPIO Ports Clock Enable */
  __HAL_RCC_GPIOH_CLK_ENABLE();
  __HAL_RCC_GPIOB_CLK_ENABLE();
  __HAL_RCC_GPIOC_CLK_ENABLE();
  __HAL_RCC_GPIOA_CLK_ENABLE();

  /*Configure GPIO pin Output Level */
  HAL_GPIO_WritePin(GPIOB, PLAYER1_DIODE_Pin|PLAYER2_DIODE_Pin, GPIO_PIN_RESET);

  /*Configure GPIO pin Output Level */
  HAL_GPIO_WritePin(GPIOC, GPIO_PIN_8, GPIO_PIN_RESET);

  /*Configure GPIO pin Output Level */
  HAL_GPIO_WritePin(DEBUG_TIMER_GPIO_Port, DEBUG_TIMER_Pin, GPIO_PIN_RESET);

  /*Configure GPIO pins : PAUSE_BUTTON_Pin PLAYER1_BUTTON_Pin PLAYER2_BUTTON_Pin */
  GPIO_InitStruct.Pin = PAUSE_BUTTON_Pin|PLAYER1_BUTTON_Pin|PLAYER2_BUTTON_Pin;
  GPIO_InitStruct.Mode = GPIO_MODE_IT_FALLING;
  GPIO_InitStruct.Pull = GPIO_PULLUP;
  HAL_GPIO_Init(GPIOB, &GPIO_InitStruct);

  /*Configure GPIO pins : PLAYER1_DIODE_Pin PLAYER2_DIODE_Pin */
  GPIO_InitStruct.Pin = PLAYER1_DIODE_Pin|PLAYER2_DIODE_Pin;
  GPIO_InitStruct.Mode = GPIO_MODE_OUTPUT_PP;
  GPIO_InitStruct.Pull = GPIO_NOPULL;
  GPIO_InitStruct.Speed = GPIO_SPEED_FREQ_LOW;
  HAL_GPIO_Init(GPIOB, &GPIO_InitStruct);

  /*Configure GPIO pin : PC8 */
  GPIO_InitStruct.Pin = GPIO_PIN_8;
  GPIO_InitStruct.Mode = GPIO_MODE_OUTPUT_PP;
  GPIO_InitStruct.Pull = GPIO_NOPULL;
  GPIO_InitStruct.Speed = GPIO_SPEED_FREQ_LOW;
  HAL_GPIO_Init(GPIOC, &GPIO_InitStruct);

  /*Configure GPIO pin : DEBUG_TIMER_Pin */
  GPIO_InitStruct.Pin = DEBUG_TIMER_Pin;
  GPIO_InitStruct.Mode = GPIO_MODE_OUTPUT_PP;
  GPIO_InitStruct.Pull = GPIO_NOPULL;
  GPIO_InitStruct.Speed = GPIO_SPEED_FREQ_LOW;
  HAL_GPIO_Init(DEBUG_TIMER_GPIO_Port, &GPIO_InitStruct);

}

void _Error_Handler(char *file, int line)
{
  while(1)
  {
  }
}

/************************ (C) COPYRIGHT STMicroelectronics *****END OF FILE****/
